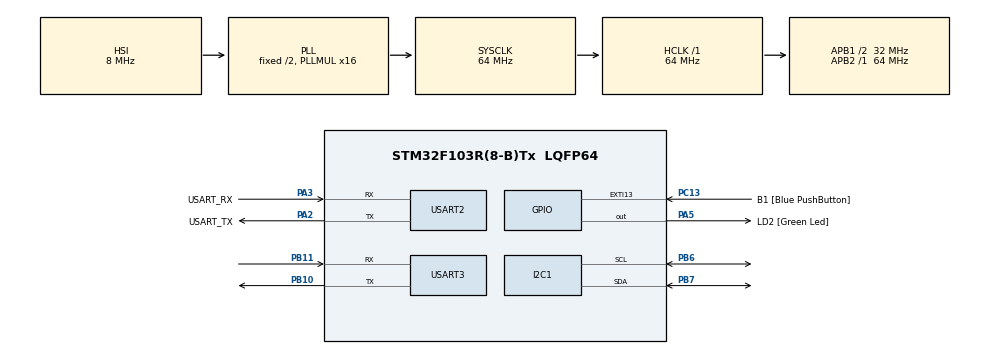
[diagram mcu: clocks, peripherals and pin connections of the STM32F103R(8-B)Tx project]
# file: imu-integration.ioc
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FREERTOS.Tasks01=blinkled,24,128,StartBlinkLed,Default,NULL,Dynamic,NULL,NULL;readimu,16,128,StartReadIMU,Default,NULL,Dynamic,NULL,NULL;transmitdata,18,128,StartTransmitData,Default,NULL,Dynamic,NULL,NULL
FREERTOS.configUSE_NEWLIB_REENTRANT=1
Mcu.Family=STM32F1
Mcu.Name=STM32F103R(8-B)Tx
Mcu.Package=LQFP64
NVIC.EXTI15_10_IRQn=true\:5\:0\:false\:false\:true\:true\:true\:true\:true
NVIC.PriorityGroup=NVIC_PRIORITYGROUP_4
NVIC.TIM4_IRQn=true\:15\:0\:false\:false\:true\:false\:false\:true\:true
NVIC.TimeBase=TIM4_IRQn
NVIC.TimeBaseIP=TIM4
PA13.GPIO_Label=TMS
PA13.Mode=Serial_Wire
PA13.Signal=SYS_JTMS-SWDIO
PA14.GPIO_Label=TCK
PA14.Mode=Serial_Wire
PA14.Signal=SYS_JTCK-SWCLK
PA2.GPIO_Label=USART_TX
PA2.GPIO_Mode=GPIO_MODE_AF_PP
PA2.GPIO_PuPd=GPIO_NOPULL
PA2.GPIO_Speed=GPIO_SPEED_FREQ_LOW
PA2.Mode=Asynchronous
PA2.Signal=USART2_TX
PA3.GPIO_Label=USART_RX
PA3.GPIO_Mode=GPIO_MODE_AF_PP
PA3.GPIO_PuPd=GPIO_NOPULL
PA3.GPIO_Speed=GPIO_SPEED_FREQ_LOW
PA3.Mode=Asynchronous
PA3.Signal=USART2_RX
PA5.GPIO_Label=LD2 [Green Led]
PA5.GPIO_ModeDefaultOutputPP=GPIO_MODE_OUTPUT_PP
PA5.GPIO_PuPd=GPIO_NOPULL
PA5.GPIO_Speed=GPIO_SPEED_FREQ_LOW
PA5.Signal=GPIO_Output
PB10.Mode=Asynchronous
PB10.Signal=USART3_TX
PB11.Mode=Asynchronous
PB11.Signal=USART3_RX
PB3.GPIO_Label=SWO
PB3.Signal=SYS_JTDO-TRACESWO
PB6.Mode=I2C
PB6.Signal=I2C1_SCL
PB7.Mode=I2C
PB7.Signal=I2C1_SDA
PC13-TAMPER-RTC.GPIO_Label=B1 [Blue PushButton]
PC13-TAMPER-RTC.GPIO_PuPd=GPIO_NOPULL
PC13-TAMPER-RTC.Signal=GPXTI13
PC14-OSC32_IN.Mode=LSE-External-Oscillator
PC14-OSC32_IN.Signal=RCC_OSC32_IN
PC15-OSC32_OUT.Mode=LSE-External-Oscillator
PC15-OSC32_OUT.Signal=RCC_OSC32_OUT
PD0-OSC_IN.Mode=HSE-External-Clock-Source
PD0-OSC_IN.Signal=RCC_OSC_IN
PD1-OSC_OUT.Mode=HSE-External-Clock-Source
PD1-OSC_OUT.Signal=RCC_OSC_OUT
ProjectManager.HeapSize=0x200
ProjectManager.StackSize=0x400
ProjectManager.TargetToolchain=STM32CubeIDE
RCC.AHBFreq_Value=64000000
RCC.APB1CLKDivider=RCC_HCLK_DIV2
RCC.APB1Freq_Value=32000000
RCC.APB1TimFreq_Value=64000000
RCC.APB2Freq_Value=64000000
RCC.APB2TimFreq_Value=64000000
RCC.HCLKFreq_Value=64000000
RCC.PLLMUL=RCC_PLL_MUL16
RCC.RTCClockSelection=RCC_RTCCLKSOURCE_LSE
RCC.SYSCLKFreq_VALUE=64000000
RCC.SYSCLKSource=RCC_SYSCLKSOURCE_PLLCLK
RCC.USBFreq_Value=64000000
USART2.VirtualMode=VM_ASYNC
USART3.VirtualMode=VM_ASYNC
VP_FREERTOS_VS_CMSIS_V2.Mode=CMSIS_V2
VP_SYS_VS_tim4.Mode=TIM4
board=NUCLEO-F103RB

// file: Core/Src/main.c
/* USER CODE BEGIN Header */
/**
  ******************************************************************************
  * @file           : main.c
  * @brief          : Main program body
  ******************************************************************************
  * @attention
  *
  * Copyright (c) 2023 STMicroelectronics.
  * All rights reserved.
  *
  * This software is licensed under terms that can be found in the LICENSE file
  * in the root directory of this software component.
  * If no LICENSE file comes with this software, it is provided AS-IS.
  *
  ******************************************************************************
  */
/* USER CODE END Header */
#include "main.h"
#include "cmsis_os.h"

/* USER CODE BEGIN Includes */
#include "usart_i2c.h"

/* USER CODE END Includes */

void SystemClock_Config(void);
static void MX_GPIO_Init(void);

/* USER CODE BEGIN PFP */
void MX_FREERTOS_Init(void);

/* USER CODE END PFP */

int main(void)
{

  /* MCU Configuration--------------------------------------------------------*/

  /* Reset of all peripherals, Initializes the Flash interface and the Systick. */
  HAL_Init();

  /* Configure the system clock */
  SystemClock_Config();

  /* Initialize all configured peripherals */
  MX_GPIO_Init();
  MX_USART2_UART_Init();
  MX_I2C1_Init();
  MX_USART3_UART_Init();

  /* Init scheduler */
  osKernelInitialize();

  /* USER CODE BEGIN RTOS_MUTEX */
   MX_FREERTOS_Init();

  /* USER CODE END RTOS_MUTEX */

  /* Start scheduler */
  osKernelStart();

  /* We should never get here as control is now taken by the scheduler */
  /* Infinite loop */
  while (1)
  {

  }
}

void SystemClock_Config(void)
{
  RCC_OscInitTypeDef RCC_OscInitStruct = {0};
  RCC_ClkInitTypeDef RCC_ClkInitStruct = {0};

  /** Initializes the RCC Oscillators according to the specified parameters
  * in the RCC_OscInitTypeDef structure.
  */
  RCC_OscInitStruct.OscillatorType = RCC_OSCILLATORTYPE_HSI;
  RCC_OscInitStruct.HSIState = RCC_HSI_ON;
  RCC_OscInitStruct.HSICalibrationValue = RCC_HSICALIBRATION_DEFAULT;
  RCC_OscInitStruct.PLL.PLLState = RCC_PLL_ON;
  RCC_OscInitStruct.PLL.PLLSource = RCC_PLLSOURCE_HSI_DIV2;
  RCC_OscInitStruct.PLL.PLLMUL = RCC_PLL_MUL16;
  if (HAL_RCC_OscConfig(&RCC_OscInitStruct) != HAL_OK)
  {
    Error_Handler();
  }

  /** Initializes the CPU, AHB and APB buses clocks
  */
  RCC_ClkInitStruct.ClockType = RCC_CLOCKTYPE_HCLK|RCC_CLOCKTYPE_SYSCLK
                              |RCC_CLOCKTYPE_PCLK1|RCC_CLOCKTYPE_PCLK2;
  RCC_ClkInitStruct.SYSCLKSource = RCC_SYSCLKSOURCE_PLLCLK;
  RCC_ClkInitStruct.AHBCLKDivider = RCC_SYSCLK_DIV1;
  RCC_ClkInitStruct.APB1CLKDivider = RCC_HCLK_DIV2;
  RCC_ClkInitStruct.APB2CLKDivider = RCC_HCLK_DIV1;

  if (HAL_RCC_ClockConfig(&RCC_ClkInitStruct, FLASH_LATENCY_2) != HAL_OK)
  {
    Error_Handler();
  }
}

static void MX_GPIO_Init(void)
{
  GPIO_InitTypeDef GPIO_InitStruct = {0};

  /* GPIO Ports Clock Enable */
  __HAL_RCC_GPIOC_CLK_ENABLE();
  __HAL_RCC_GPIOD_CLK_ENABLE();
  __HAL_RCC_GPIOA_CLK_ENABLE();
  __HAL_RCC_GPIOB_CLK_ENABLE();

  /*Configure GPIO pin Output Level */
  HAL_GPIO_WritePin(LD2_GPIO_Port, LD2_Pin, GPIO_PIN_RESET);

  /*Configure GPIO pin : B1_Pin */
  GPIO_InitStruct.Pin = B1_Pin;
  GPIO_InitStruct.Mode = GPIO_MODE_IT_RISING;
  GPIO_InitStruct.Pull = GPIO_NOPULL;
  HAL_GPIO_Init(B1_GPIO_Port, &GPIO_InitStruct);

  /*Configure GPIO pin : LD2_Pin */
  GPIO_InitStruct.Pin = LD2_Pin;
  GPIO_InitStruct.Mode = GPIO_MODE_OUTPUT_PP;
  GPIO_InitStruct.Pull = GPIO_NOPULL;
  GPIO_InitStruct.Speed = GPIO_SPEED_FREQ_LOW;
  HAL_GPIO_Init(LD2_GPIO_Port, &GPIO_InitStruct);

  /* EXTI interrupt init*/
  HAL_NVIC_SetPriority(EXTI15_10_IRQn, 5, 0);
  HAL_NVIC_EnableIRQ(EXTI15_10_IRQn);

}

void HAL_TIM_PeriodElapsedCallback(TIM_HandleTypeDef *htim)
{
  if (htim->Instance == TIM4) {
    HAL_IncTick();
  }
}

void Error_Handler(void)
{
  __disable_irq();
  while (1)
  {
  }
}

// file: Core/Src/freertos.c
/* USER CODE BEGIN Header */
/**
  ******************************************************************************
  * File Name          : freertos.c
  * Description        : Code for freertos applications
  ******************************************************************************
  * @attention
  *
  * Copyright (c) 2023 STMicroelectronics.
  * All rights reserved.
  *
  * This software is licensed under terms that can be found in the LICENSE file
  * in the root directory of this software component.
  * If no LICENSE file comes with this software, it is provided AS-IS.
  *
  ******************************************************************************
  */
/* USER CODE END Header */

#include "FreeRTOS.h"
#include "task.h"
#include "main.h"

/* USER CODE BEGIN Includes */
#include "imu.h"
#include "cmsis_os.h"
#include <stdio.h>
#include "usart_i2c.h"

/* USER CODE END Includes */

/* USER CODE BEGIN PTD */
#ifdef __GNUC__
#define PUTCHAR_PROTOTYPE int __io_putchar(int ch)
#else
#define PUTCHAR_PROTOTYPE int fputc(int ch, FILE *f)
#endif

PUTCHAR_PROTOTYPE
{
  HAL_UART_Transmit(&huart2, (uint8_t *)&ch, 1, HAL_MAX_DELAY);
  return ch;
}
/* USER CODE END PTD */

/* USER CODE BEGIN PD */
#define IMU_QUEUE_SIZE 10
/* USER CODE END PD */

/* USER CODE BEGIN Variables */
union FloatBytes {
    float float_value;
    uint8_t bytes[4];
} FloatBytes;

/* Definitions for blinkled */
osThreadId_t blinkledHandle;
const osThreadAttr_t blinkled_attributes = {
  .name = "blinkled",
  .stack_size = 128 * 4,
  .priority = (osPriority_t) osPriorityNormal,
};

/* Definitions for readimu */
osThreadId_t readimuHandle;
const osThreadAttr_t readimu_attributes = {
  .name = "readimu",
  .stack_size = 128 * 4,
  .priority = (osPriority_t) osPriorityNormal,
};

/* Definitions for transmitdata */
osThreadId_t transmitdataHandle;
const osThreadAttr_t transmitdata_attributes = {
  .name = "transmitdata",
  .stack_size = 128 * 4,
  .priority = (osPriority_t) osPriorityNormal,
};

osMessageQueueId_t imuMessageQueueHandle;
const osMessageQueueAttr_t imuMessageQueue_attributes = {
  .name = "imuMessageQueue"
};

/* USER CODE END Variables */

/* USER CODE BEGIN FunctionPrototypes */
void MX_FREERTOS_Init(void);
void StartBlinkLed(void *argument);
void StartReadIMU(void *argument);
void StartTransmitData(void *argument);

void addtoIMUQueue(char* type, char* dimension, union FloatBytes data);

/* USER CODE END FunctionPrototypes */

/* USER CODE BEGIN Application */

/**
  * @brief  FreeRTOS initialization
  * @param  None
  * @retval None
  */
void MX_FREERTOS_Init(void) {
  /* Initialize IMU */
  initIMU();

  /* Create Queue */
  imuMessageQueueHandle = osMessageQueueNew(IMU_QUEUE_SIZE, sizeof(IMU_msg_t), &imuMessageQueue_attributes);

  /* Create the thread(s) */
  blinkledHandle = osThreadNew(StartBlinkLed, NULL, &blinkled_attributes);
  readimuHandle = osThreadNew(StartReadIMU, NULL, &readimu_attributes);
  transmitdataHandle = osThreadNew(StartTransmitData, NULL, &transmitdata_attributes);
}

/**
  * @brief  Function implementing the blinkled thread.
  * @param  argument: Not used
  * @retval None
  */

void StartBlinkLed(void *argument)
{
  /* Infinite loop */
  while(1)
  {
    HAL_GPIO_TogglePin(GPIOA, GPIO_PIN_5);
    osDelay(1000);
  }

  // In case we accidentally exit from task loop
  osThreadTerminate(NULL);
}

/**
* @brief Function implementing the imu thread.
* @param argument: Not used
* @retval None
*/

__NO_RETURN void StartReadIMU(void *argument)
{
  union FloatBytes gy_x, gy_y, gy_z, ax_x, ax_y, ax_z;
  /* Infinite loop */
  while(1)
  {
    gy_x.float_value = gyro(GYRO_X);
    gy_y.float_value = gyro(GYRO_Y);
    gy_z.float_value = gyro(GYRO_Z);
    ax_x.float_value = accel(ACCEL_X);
    ax_y.float_value = accel(ACCEL_Y);
    ax_z.float_value = accel(ACCEL_Z);

    // IMU DATA: 16 ASCII characters
    addtoIMUQueue("G", "X", gy_x);
    addtoIMUQueue("G", "Y", gy_y);
    addtoIMUQueue("G", "Z", gy_z);
    addtoIMUQueue("A", "X", ax_x);
    addtoIMUQueue("A", "Y", ax_y);
    addtoIMUQueue("A", "Z", ax_z);

    osDelay(1000);

  }

  // In case we accidentally exit from task loop
  osThreadTerminate(NULL);

}

void addtoIMUQueue(char* type, char* dimension, union FloatBytes data){
    IMU_msg_t imu_message;

    imu_message.imu_type = type[0];
    imu_message.dimension = dimension[0];
    for (int i = 0; i < 4; i++) {
        imu_message.data[i] = data.bytes[i];
    }

    osMessageQueuePut(imuMessageQueueHandle, &imu_message, 0U, 0U);
}

__NO_RETURN void StartTransmitData(void *argument){
  osStatus_t imu_queue_status;
  IMU_msg_t imu_message;

  while(1)
  {
    // Check if there are messages in the queue
    if (osMessageQueueGetCount(imuMessageQueueHandle) == 0) {
        continue;
    }

    imu_queue_status = osMessageQueueGet(imuMessageQueueHandle, &imu_message, NULL, osWaitForever);

    if (imu_queue_status != osOK){
      osThreadYield();
    }
    uint8_t imu_buffer[9] = {0};

    // IMU ID: 1 ASCII characters
    imu_buffer[0] = '@';

    //Data from queue
    imu_buffer[1] = imu_message.imu_type;
    imu_buffer[2] = imu_message.dimension;
    for (int i = 0; i < 4; i++) {
        imu_buffer[i + 3] = imu_message.data[i];
    }

    // NEW LINE: 1 ASCII character
    imu_buffer[7] = '\n';

    // CARRIAGE RETURN: 1 ASCII character
    imu_buffer[8] = '\r';

    HAL_UART_Transmit(&huart2, imu_buffer, sizeof(imu_buffer), 1000);
    HAL_UART_Transmit(&huart3, imu_buffer, sizeof(imu_buffer), 1000);
  }

  // In case we accidentally exit from task loop
  osThreadTerminate(NULL);
}
/* USER CODE END Application */
